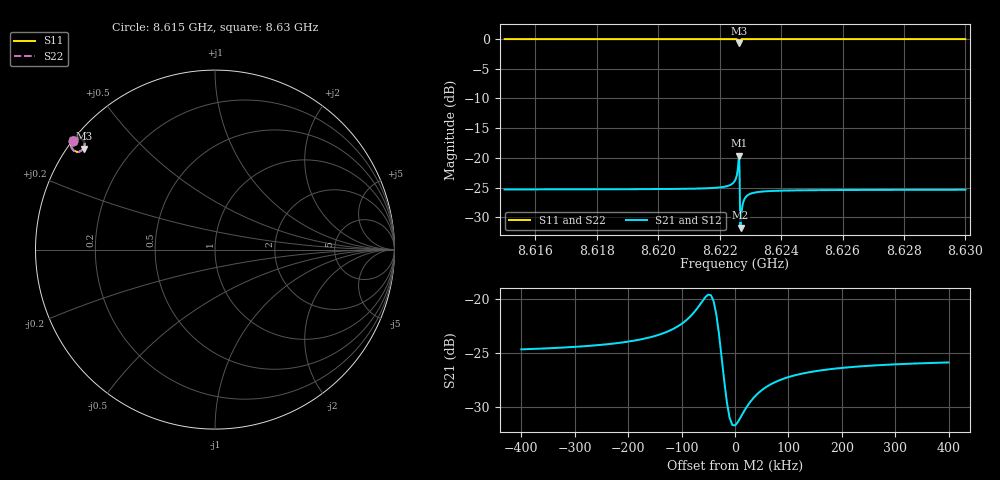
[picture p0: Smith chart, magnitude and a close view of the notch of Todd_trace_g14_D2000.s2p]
! Sonnet Data File
! From: emgraph Version : 16.52
! From Project: 171114transmon_trace_brg
! Data is De-embedded
! Data File Written: 11/14/2017 17:50:13
!< HDATE 11/14/2017 14:11:39
!< MDATE 11/14/2017 14:11:39
!< PARAMS
!< Lj = 15.24
!< Gap = 14.0
!< Width = 10.0
!< Airgap = 6.0
!< Pwidth = 2000.0
!< Dist = 2000.0
!< END PARAMS
# GHZ S MA R 34.87000
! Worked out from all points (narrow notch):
!   3597 points, 8.615 GHz to 8.63 GHz, reference 34.87 ohm
!   highest |S21| = -19.61 dB at 8.62263 GHz (marker M1); lowest = -31.7 dB at 8.62268 GHz (marker M2)
!   notch at M2: 6.4 dB deep, 66.9 kHz wide at half that depth
!   lowest |S11| = -0.7 dB at 8.62264 GHz (marker M3), VSWR 23.91, Z = 1.63 + j11.9 ohm
!   |S11| at or under -10 dB: nowhere
!   |S22| runs from -0.7 to 0.0 dB; largest |S21 - S12| = 1.9e-13
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8.615  0.9985 142.5  0.05434 52.5  0.05434 52.5  0.9985 142.5
!< P1 F=8.615 Eeff=(5.13377404 -5.6313e-5) Z0=(34.6595714 -9.1612e-5) R=0.0 C=0.0
!< P2 F=8.615 Eeff=(5.13377404 -5.6313e-5) Z0=(34.6595714 -9.1612e-5) R=0.0 C=0.0
8.6175  0.9985 142.5  0.05446 52.5  0.05446 52.5  0.9985 142.5
8.62  0.9985 142.5  0.05475 52.5  0.05475 52.5  0.9985 142.5
8.622005  0.9983 142.4  0.05656 52.3  0.05656 52.3  0.9983 142.4
8.622325  0.998 142.2  0.05893 52.0  0.05893 52.0  0.998 142.2
8.6225  0.9966 141.9  0.06461 50.7  0.06461 50.7  0.9966 141.9
8.622515  0.9962 141.8  0.06577 50.4  0.06577 50.4  0.9962 141.8
8.62252  0.996 141.8  0.06624 50.3  0.06624 50.3  0.9961 141.8
8.622565  0.9931 141.4  0.07267 48.1  0.07267 48.1  0.9931 141.4
8.62258  0.9906 141.2  0.07654 46.4  0.07654 46.4  0.9907 141.2
8.62263  0.9399 140.5  0.1046 18.2  0.1046 18.2  0.9403 140.5
8.62264  0.9197 142.3  0.09731 -1.3  0.09731 -1.3  0.9203 142.3
8.62268  0.9849 144.4  0.02595 19.5  0.02595 19.5  0.985 144.4
8.62273  0.996 143.5  0.03776 48.4  0.03776 48.4  0.996 143.4
8.622745  0.9968 143.3  0.03997 49.8  0.03997 49.8  0.9968 143.3
8.6228  0.9979 143.0  0.04475 51.7  0.04475 51.7  0.9979 143.0
8.622855  0.9983 142.9  0.04715 52.2  0.04715 52.2  0.9983 142.9
8.62309  0.9986 142.7  0.05084 52.5  0.05084 52.5  0.9986 142.7
8.62366  0.9986 142.6  0.05273 52.5  0.05273 52.5  0.9986 142.6
8.625  0.9986 142.5  0.05359 52.5  0.05359 52.5  0.9986 142.5
8.6275  0.9985 142.5  0.05394 52.5  0.05394 52.5  0.9985 142.5
8.63  0.9985 142.5  0.05406 52.5  0.05406 52.5  0.9985 142.5
